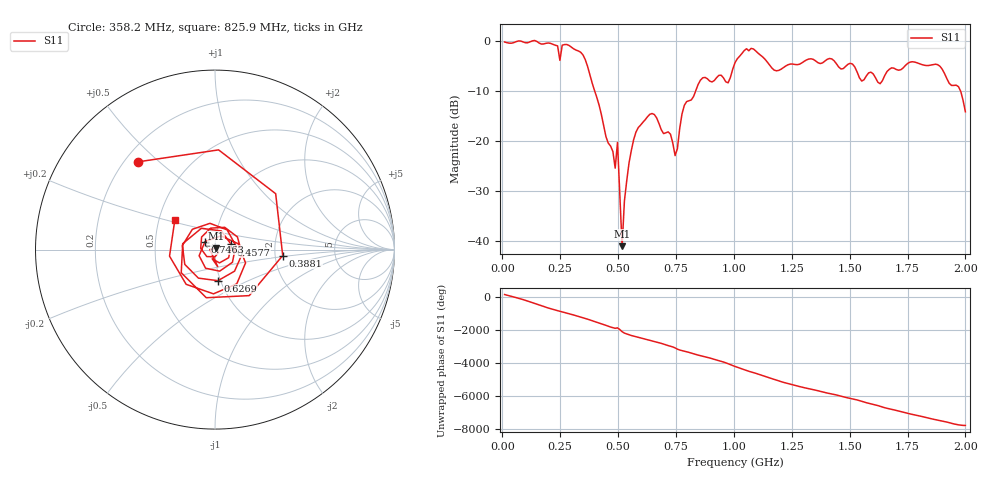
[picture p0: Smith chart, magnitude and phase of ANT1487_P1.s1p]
!Created with skrf (http://scikit-rf.org).
# Hz S RI R 50.0
!freq ReS11 ImS11
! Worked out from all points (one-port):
!   201 points, 10 MHz to 2 GHz, reference 50 ohm
!   lowest |S11| = -41.1 dB at 517.5 MHz (marker M1), VSWR 1.02, Z = 50.6 + j0.659 ohm
!   |S11| at or under -10 dB: 398.7 MHz to 835.4 MHz (436.7 MHz wide, 70.8 % of centre); 1.979 GHz to end of sweep
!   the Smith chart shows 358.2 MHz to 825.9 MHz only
!   S11 on the Smith chart (normalised r, x): 358.2 MHz: 0.25, +0.43; 388.1 MHz: 2.20, -0.17; 457.8 MHz: 1.20, +0.07; 626.9 MHz: 0.97, -0.35; 746.3 MHz: 0.89, +0.08; 825.9 MHz: 0.61, +0.21
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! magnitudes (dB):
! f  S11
! 10 MHz  -0.2
! 248.8 MHz  -3.9
! 258.8 MHz  -0.9
! 358.2 MHz  -3.7
! 388.1 MHz  -8.4
! 457.8 MHz  -20.5
! 487.6 MHz  -25.5
! 497.6 MHz  -20.3
! 507.5 MHz  -30.8
! 517.5 MHz  -41.1
! 527.4 MHz  -32.1
! 557.2 MHz  -21.9
! 626.9 MHz  -15.2
! 726.4 MHz  -18.7
! 746.3 MHz  -23.0
! 756.2 MHz  -21.6
! 786.1 MHz  -12.9
! 825.9 MHz  -11.2
! 865.7 MHz  -7.4
! 975.1 MHz  -8.4
! 1.005 GHz  -4.4
! 1.075 GHz  -1.5
! 1.254 GHz  -4.6
! 1.502 GHz  -4.5
! 1.632 GHz  -8.6
! 1.751 GHz  -4.5
! 1.891 GHz  -5.1
! 2 GHz  -14.2
